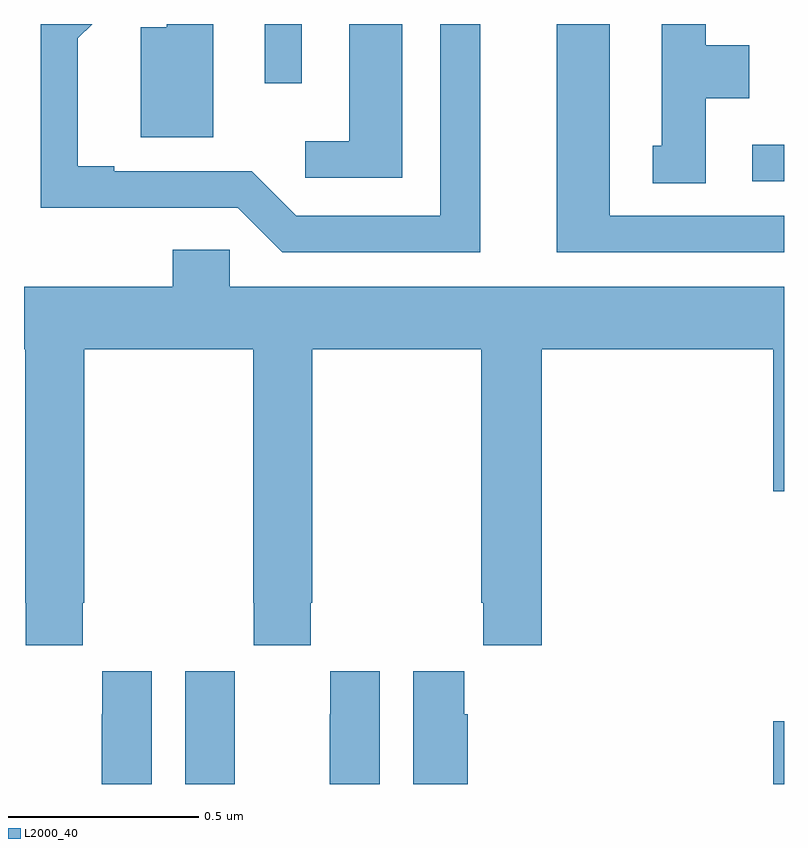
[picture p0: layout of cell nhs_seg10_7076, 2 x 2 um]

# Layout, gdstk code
import gdstk
lib = gdstk.Library(unit=1e-6, precision=1e-09)
def R(c, l, rs):  # rectangles x0, y0, x1, y1
    for r in rs: c.add(gdstk.rectangle(r[:2], r[2:], *l))
def P(c, l, *ps):  # polygons
    for p in ps: c.add(gdstk.Polygon(p, *l))
L2000_40 = (2000, 40)

nhs_seg10_7076 = lib.new_cell('nhs_seg10_7076')
R(nhs_seg10_7076, L2000_40, [(200.972,1304.5,201,1304.665), (200.916,1306.086,201,1306.182), (199.634,1306.344,199.731,1306.5)])
P(nhs_seg10_7076, L2000_40, [(200.2,1306.5),(200.096,1306.5),(200.096,1305.996),(199.716,1305.996),(199.599,1306.113),(199.237,1306.113),(199.237,1306.126),(199.141,1306.126),(199.141,1306.462),(199.179,1306.5),(199.044,1306.5),(199.044,1306.016),(199.307,1306.016),(199.307,1306.017),(199.563,1306.017),(199.68,1305.9),(200.2,1305.9)],
  [(200.794,1306.304),(200.908,1306.304),(200.908,1306.444),(200.794,1306.444),(200.794,1306.5),(200.678,1306.5),(200.678,1306.179),(200.654,1306.179),(200.654,1306.081),(200.794,1306.081)],
  [(199.498,1306.5),(199.376,1306.5),(199.376,1306.492),(199.307,1306.492),(199.307,1306.202),(199.498,1306.202)],
  [(201,1305.996),(200.542,1305.996),(200.542,1306.5),(200.402,1306.5),(200.402,1305.9),(201,1305.9)],
  [(199.996,1306.5),(199.856,1306.5),(199.856,1306.192),(199.74,1306.192),(199.74,1306.095),(199.996,1306.095)],
  [(199.542,1305.906),(199.391,1305.906),(199.391,1305.808),(199,1305.808),(199,1305.644),(199.003,1305.644),(199.003,1304.977),(199.005,1304.977),(199.005,1304.865),(199.155,1304.865),(199.155,1304.977),(199.158,1304.977),(199.158,1305.644),(199.603,1305.644),(199.603,1304.977),(199.605,1304.977),(199.605,1304.865),(199.755,1304.865),(199.755,1304.977),(199.758,1304.977),(199.758,1305.644),(200.203,1305.644),(200.203,1304.977),(200.209,1304.977),(200.209,1304.865),(200.363,1304.865),(200.363,1305.644),(200.972,1305.644),(200.972,1305.27),(201,1305.27),(201,1305.808),(199.542,1305.808)],
  [(199.336,1304.797),(199.206,1304.797),(199.206,1304.684),(199.205,1304.684),(199.205,1304.5),(199.336,1304.5)],
  [(199.555,1304.684),(199.554,1304.684),(199.554,1304.797),(199.424,1304.797),(199.424,1304.5),(199.555,1304.5)],
  [(199.936,1304.797),(199.806,1304.797),(199.806,1304.684),(199.805,1304.684),(199.805,1304.5),(199.936,1304.5)],
  [(200.168,1304.684),(200.158,1304.684),(200.158,1304.797),(200.024,1304.797),(200.024,1304.5),(200.168,1304.5)])

lib.write_gds('nhs_seg10_7076.gds')
